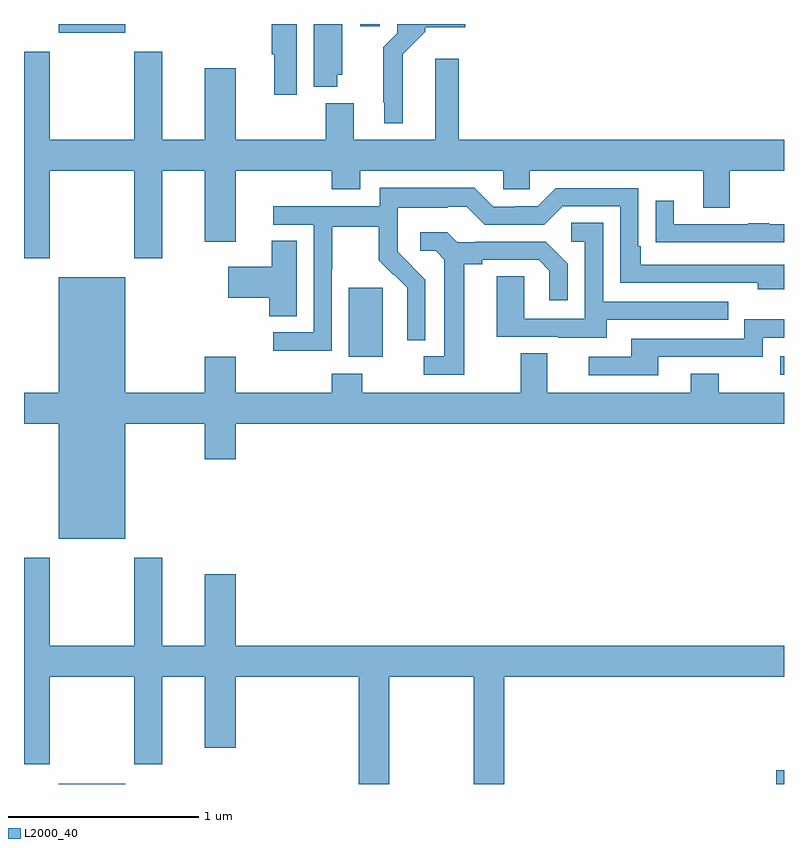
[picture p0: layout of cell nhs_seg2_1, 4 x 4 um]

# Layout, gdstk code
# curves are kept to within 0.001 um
import gdstk
lib = gdstk.Library(unit=1e-6, precision=1e-09)
def R(c, l, rs):  # rectangles x0, y0, x1, y1
    for r in rs: c.add(gdstk.rectangle(r[:2], r[2:], *l))
def P(c, l, *ps):  # polygons
    for p in ps: c.add(gdstk.Polygon(p, *l))
L2000_40 = (2000, 40)

nhs_seg2_1 = lib.new_cell('nhs_seg2_1')
R(nhs_seg2_1, L2000_40, [(111.182,585.8,111.532,585.802), (114.96,585.8,115,585.872), (114.981,587.955,115,588.051), (112.709,588.05,112.888,588.411), (111.182,589.754,111.532,589.8), (112.769,589.788,112.873,589.8)])
P(nhs_seg2_1, L2000_40, [(112.648,589.533),(112.675,589.533),(112.675,589.8),(112.526,589.8),(112.526,589.469),(112.648,589.469)],
  [(112.435,589.8),(112.304,589.8),(112.304,589.64),(112.316,589.64),(112.316,589.428),(112.435,589.428)],
  [(112.993,589.64),(113.111,589.758),(113.111,589.784),(113.323,589.784),(113.323,589.8),(112.965,589.8),(112.965,589.752),(112.891,589.678),(112.891,589.387),(112.895,589.387),(112.895,589.277),(112.993,589.277)],
  [(111.135,589.028),(111.58,589.028),(111.58,588.567),(111.727,588.567),(111.727,589.028),(111.95,589.028),(111.95,588.654),(112.114,588.654),(112.114,589.028),(112.619,589.028),(112.619,588.929),(112.771,588.929),(112.771,589.028),(113.523,589.028),(113.523,588.93),(113.661,588.93),(113.661,589.028),(114.575,589.028),(114.575,588.834),(114.715,588.834),(114.715,589.028),(115,589.028),(115,589.192),(113.288,589.192),(113.288,589.618),(113.165,589.618),(113.165,589.192),(112.735,589.192),(112.735,589.384),(112.588,589.384),(112.588,589.192),(112.114,589.192),(112.114,589.567),(111.95,589.567),(111.95,589.192),(111.727,589.192),(111.727,589.654),(111.58,589.654),(111.58,589.192),(111.135,589.192),(111.135,589.654),(111,589.654),(111,588.567),(111.135,588.567)],
  [(112.62,588.508),(112.623,588.508),(112.623,588.732),(112.867,588.732),(112.867,588.557),(112.944,588.48),(112.947,588.483),(113.018,588.413),(113.018,588.29),(113.016,588.29),(113.016,588.136),(113.112,588.136),(113.112,588.454),(112.966,588.602),(112.966,588.699),(112.968,588.699),(112.968,588.833),(113.231,588.833),(113.231,588.837),(113.331,588.837),(113.424,588.744),(113.739,588.744),(113.835,588.84),(114.138,588.84),(114.138,588.438),(114.863,588.438),(114.863,588.404),(115,588.404),(115,588.534),(114.247,588.534),(114.247,588.631),(114.234,588.631),(114.234,588.936),(113.799,588.936),(113.703,588.84),(113.585,588.84),(113.585,588.837),(113.469,588.837),(113.369,588.937),(112.872,588.937),(112.872,588.84),(112.311,588.84),(112.311,588.744),(112.524,588.744),(112.524,588.177),(112.311,588.177),(112.311,588.079),(112.62,588.079)],
  [(115,588.747),(114.923,588.747),(114.923,588.752),(114.811,588.752),(114.811,588.747),(114.421,588.747),(114.421,588.871),(114.325,588.871),(114.325,588.652),(114.427,588.652),(114.427,588.651),(115,588.651)],
  [(114.067,588.243),(114.707,588.243),(114.707,588.339),(114.048,588.339),(114.048,588.755),(113.88,588.755),(113.88,588.654),(113.952,588.654),(113.952,588.249),(113.634,588.249),(113.634,588.473),(113.489,588.473),(113.489,588.153),(113.813,588.153),(113.813,588.149),(114.067,588.149)],
  [(113.317,588.536),(113.413,588.536),(113.413,588.558),(113.708,588.558),(113.765,588.501),(113.765,588.345),(113.862,588.345),(113.862,588.538),(113.746,588.654),(113.374,588.654),(113.374,588.651),(113.28,588.651),(113.228,588.703),(113.085,588.703),(113.085,588.606),(113.166,588.606),(113.213,588.559),(113.213,588.051),(113.103,588.051),(113.103,587.955),(113.317,587.955)],
  [(112.435,588.659),(112.304,588.659),(112.304,588.523),(112.074,588.523),(112.074,588.358),(112.292,588.358),(112.292,588.262),(112.435,588.262)],
  [(111.532,587.696),(111.95,587.696),(111.95,587.508),(112.114,587.508),(112.114,587.696),(115,587.696),(115,587.86),(114.657,587.86),(114.657,587.959),(114.509,587.959),(114.509,587.86),(113.755,587.86),(113.755,588.068),(113.615,588.068),(113.615,587.86),(112.779,587.86),(112.779,587.959),(112.619,587.959),(112.619,587.86),(112.114,587.86),(112.114,588.049),(111.95,588.049),(111.95,587.86),(111.532,587.86),(111.532,588.466),(111.182,588.466),(111.182,587.86),(111,587.86),(111,587.696),(111.182,587.696),(111.182,587.09),(111.532,587.09)],
  [(114.337,588.048),(114.888,588.048),(114.888,588.15),(115,588.15),(115,588.247),(114.792,588.247),(114.792,588.144),(114.197,588.144),(114.197,588.048),(113.973,588.048),(113.973,587.952),(114.337,587.952)],
  [(112.923,586.364),(113.368,586.364),(113.368,585.8),(113.528,585.8),(113.528,586.364),(115,586.364),(115,586.528),(112.114,586.528),(112.114,586.903),(111.95,586.903),(111.95,586.528),(111.727,586.528),(111.727,586.99),(111.58,586.99),(111.58,586.528),(111.135,586.528),(111.135,586.99),(111,586.99),(111,585.903),(111.135,585.903),(111.135,586.364),(111.58,586.364),(111.58,585.903),(111.727,585.903),(111.727,586.364),(111.95,586.364),(111.95,585.99),(112.114,585.99),(112.114,586.364),(112.763,586.364),(112.763,585.8),(112.923,585.8)])

lib.write_gds('nhs_seg2_1.gds')
